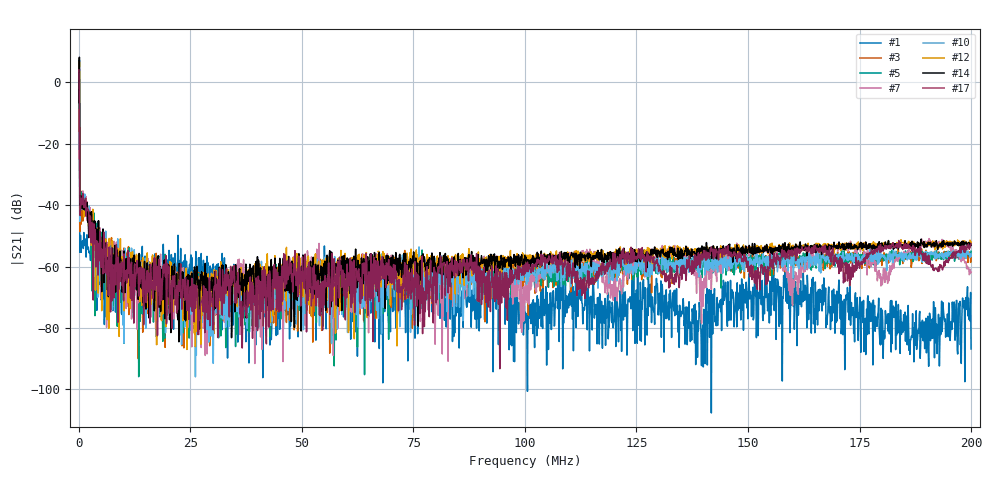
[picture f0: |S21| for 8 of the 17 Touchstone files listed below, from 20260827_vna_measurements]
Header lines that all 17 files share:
! CHANNEL.1
! TR.MEASUREMENT
! CORRECTED.DATA
# GHZ S RI R 50.0
! FREQ.GHZ  S11RE  S11IM  S21RE  S21IM  S12RE  S12IM  S22RE  S22IM
!; PortSelection: Port_12
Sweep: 50 kHz to 200 MHz
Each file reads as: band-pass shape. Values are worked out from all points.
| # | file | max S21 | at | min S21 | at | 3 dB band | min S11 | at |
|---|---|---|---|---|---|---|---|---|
| 1 | rec_0.s2p | 7.28 dB | 150 kHz | -107.7 dB | 141.8 MHz | 150 kHz-150 kHz | -36.3 dB | 68.97 MHz |
| 2 | rec_2.s2p | 4.80 dB | 50 kHz | -104.4 dB | 40.66 MHz | 50 kHz-50 kHz | -36.3 dB | 69.17 MHz |
| 3 | t1t1e2_test_src_0.s2p | 3.75 dB | 150 kHz | -90.0 dB | 13.35 MHz | 150 kHz-150 kHz | -21.1 dB | 200 MHz |
| 4 | t1t1e2_test_src_1.s2p | -8.29 dB | 50 kHz | -93.1 dB | 39.26 MHz | 50 kHz-150 kHz | -21.4 dB | 150 kHz |
| 5 | t1t1e2_test_src_2.s2p | 0.96 dB | 150 kHz | -95.8 dB | 13.45 MHz | 150 kHz-150 kHz | -21.0 dB | 199.1 MHz |
| 6 | t1t1e3_longopen_0.s2p | -6.72 dB | 150 kHz | -91.0 dB | 37.06 MHz | 150 kHz-150 kHz | -21.0 dB | 17.85 MHz |
| 7 | t1t1e3_longopen_1.s2p | -8.83 dB | 150 kHz | -91.6 dB | 39.46 MHz | 150 kHz-150 kHz | -20.9 dB | 17.85 MHz |
| 8 | t1t1e3_longopen_2.s2p | -4.24 dB | 150 kHz | -96.0 dB | 39.76 MHz | 150 kHz-150 kHz | -21.1 dB | 17.85 MHz |
| 9 | t1t1e4_noisediode_0.s2p | 3.27 dB | 150 kHz | -97.3 dB | 18.95 MHz | 150 kHz-150 kHz | -20.9 dB | 200 MHz |
| 10 | t1t1e4_noisediode_1.s2p | 4.37 dB | 150 kHz | -95.9 dB | 26.16 MHz | 150 kHz-150 kHz | -20.9 dB | 200 MHz |
| 11 | t1t1e4_noisediode_2.s2p | 6.58 dB | 150 kHz | -108.8 dB | 33.36 MHz | 150 kHz-150 kHz | -28.2 dB | 50 kHz |
| 12 | t1t1e6_heatedload_0.s2p | 6.83 dB | 150 kHz | -87.0 dB | 24.26 MHz | 150 kHz-150 kHz | -31.0 dB | 196.4 MHz |
| 13 | t1t1e6_heatedload_1.s2p | -4.84 dB | 150 kHz | -91.3 dB | 26.26 MHz | 50 kHz-150 kHz | -30.8 dB | 199 MHz |
| 14 | t1t1e6_heatedload_2.s2p | 8.17 dB | 150 kHz | -84.5 dB | 22.46 MHz | 150 kHz-150 kHz | -29.2 dB | 197.7 MHz |
| 15 | t2t2e3_longshort_0.s2p | -3.60 dB | 50 kHz | -98.9 dB | 71.87 MHz | 50 kHz-50 kHz | -26.8 dB | 150 kHz |
| 16 | t2t2e3_longshort_1.s2p | 5.87 dB | 150 kHz | -102.7 dB | 39.96 MHz | 150 kHz-150 kHz | -23.6 dB | 16.35 MHz |
| 17 | t2t2e3_longshort_2.s2p | 4.03 dB | 50 kHz | -93.2 dB | 94.37 MHz | 50 kHz-50 kHz | -24.0 dB | 16.35 MHz |
